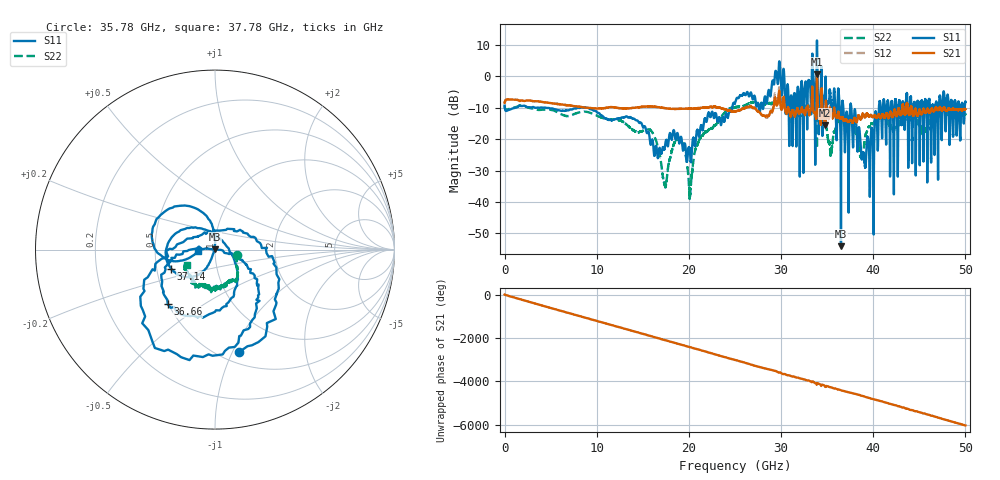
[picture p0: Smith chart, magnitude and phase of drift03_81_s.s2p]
!Created with skrf (http://scikit-rf.org).
# Hz S RI R 50.0
!freq ReS11 ImS11 ReS21 ImS21 ReS12 ImS12 ReS22 ImS22
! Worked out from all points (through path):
!   10001 points, 300 kHz to 50 GHz, reference 50 ohm
!   highest |S21| = 0.73 dB at 33.9 GHz (marker M1); lowest = -15.5 dB at 34.79 GHz (marker M2)
!   group delay of S21, straight-line fit = 335 ps
!   lowest |S11| = -54.0 dB at 36.5 GHz (marker M3), VSWR 1.00, Z = 50.1 + j0.186 ohm
!   |S11| at or under -10 dB: 4.464 GHz to 7.954 GHz (3.49 GHz wide, 56.2 % of centre); 9.028 GHz to 24.7 GHz (15.67 GHz wide, 92.9 % of centre); 37.62 GHz to 40.62 GHz (2.998 GHz wide, 7.66 % of centre) (the widest 3 of 62)
!   |S22| runs from -39.0 to -5.9 dB; largest |S21 - S12| = 0.11
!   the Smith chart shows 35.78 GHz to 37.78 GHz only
!   S11 on the Smith chart (normalised r, x): 35.78 GHz: 0.61, -1.06; 36.66 GHz: 0.50, -0.36; 37.14 GHz: 0.60, -0.14; 37.78 GHz: 0.83, -0.01
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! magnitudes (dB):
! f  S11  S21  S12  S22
! 300 kHz  -9.3  -8.4  -8.4  -9.3
! 8.335 GHz  -9.9  -9.8  -9.8  -11.3
! 16.67 GHz  -25.5  -9.8  -9.8  -23.0
! 17.41 GHz  -22.3  -10.1  -10.1  -34.8
! 19.09 GHz  -19.6  -10.3  -10.3  -20.1
! 20.13 GHz  -24.9  -10.3  -10.3  -37.4
! 21.23 GHz  -16.9  -10.1  -10.1  -19.5
! 25 GHz  -8.5  -11.1  -11.1  -9.9
! 27.86 GHz  -8.4  -12.1  -12.2  -8.8
! 29.66 GHz  -2.3  -8.3  -8.4  -7.1
! 31.08 GHz  -6.1  -12.6  -12.7  -10.5
! 33.34 GHz  0.5  -7.3  -7.4  -9.3
! 33.9 GHz  11.4  0.7  0.3  -22.9
! 34.79 GHz  -3.7  -15.5  -13.9  -14.2
! 35.78 GHz  -4.6  -10.3  -10.7  -17.9
! 36.5 GHz  -54.0  -13.2  -13.1  -13.4
! 36.66 GHz  -7.9  -12.9  -12.7  -13.0
! 37.14 GHz  -11.5  -14.0  -13.9  -13.1
! 37.78 GHz  -20.5  -14.8  -14.6  -14.9
! 38.98 GHz  -25.2  -12.4  -12.6  -23.0
! 41.67 GHz  -9.4  -13.3  -13.2  -14.5
! 50 GHz  -8.1  -10.5  -10.5  -12.1
